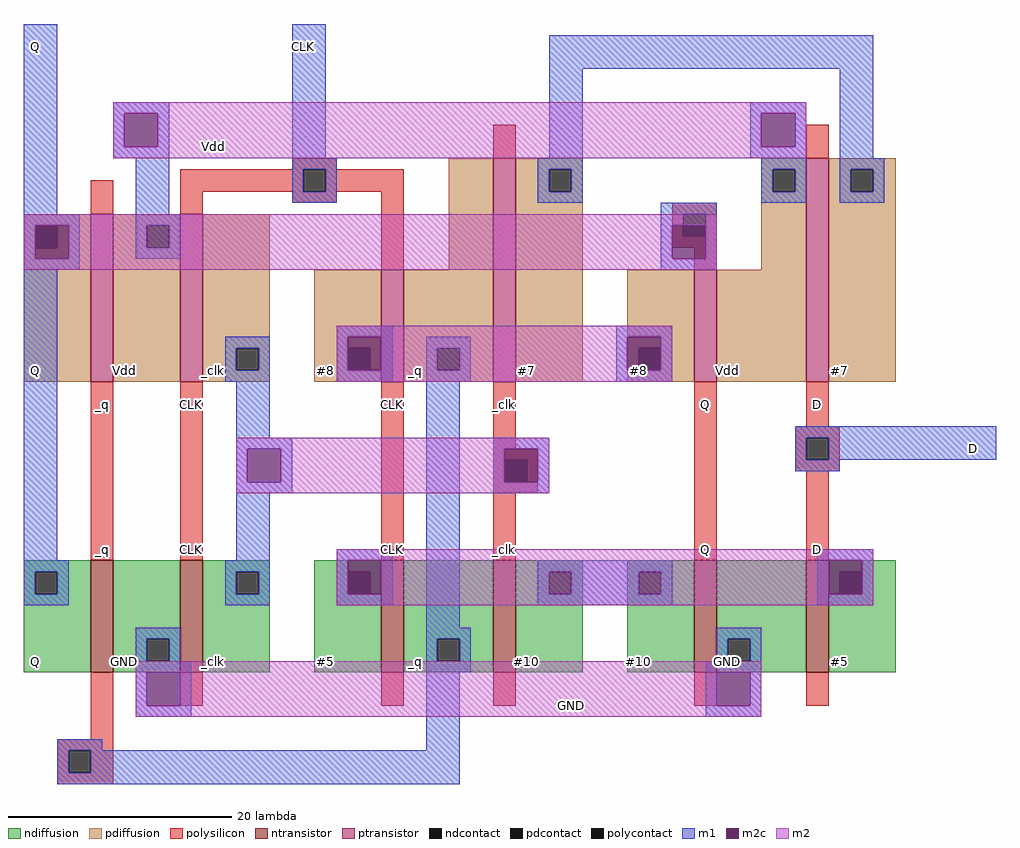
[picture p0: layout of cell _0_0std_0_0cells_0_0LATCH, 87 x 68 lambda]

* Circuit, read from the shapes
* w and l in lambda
.subckt _0_0std_0_0cells_0_0LATCH #10 #5 #7 #8 CLK D GND Q Vdd _clk _q
M1 GND _q Q VSUBS nfet w=10 l=2
M2 _clk CLK GND VSUBS nfet w=10 l=2
M3 _q CLK #5 VSUBS nfet w=10 l=2
M4 #10 _clk _q VSUBS nfet w=10 l=2
M5 GND Q #10 VSUBS nfet w=10 l=2
M6 #5 D GND VSUBS nfet w=10 l=2
M7 Vdd _q Q NWELL pfet w=15 l=2
M8 _clk CLK Vdd NWELL pfet w=15 l=2
M9 _q CLK #8 NWELL pfet w=10 l=2
M10 #7 _clk _q NWELL pfet w=20 l=2
M11 Vdd Q #8 NWELL pfet w=10 l=2
M12 #7 D Vdd NWELL pfet w=20 l=2
.ends

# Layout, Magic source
magic
tech TSMC180
<< ndiffusion >>
rect 6 21 12 22
rect 6 19 7 21
rect 9 19 12 21
rect 6 12 12 19
rect 14 15 20 22
rect 14 13 17 15
rect 19 13 20 15
rect 14 12 20 13
rect 22 21 28 22
rect 22 19 25 21
rect 27 19 28 21
rect 22 12 28 19
rect 32 21 38 22
rect 32 19 35 21
rect 37 19 38 21
rect 32 12 38 19
rect 40 15 48 22
rect 40 13 43 15
rect 45 13 48 15
rect 40 12 48 13
rect 50 21 56 22
rect 50 19 53 21
rect 55 19 56 21
rect 50 12 56 19
rect 60 21 66 22
rect 60 19 61 21
rect 63 19 66 21
rect 60 12 66 19
rect 68 15 76 22
rect 68 13 69 15
rect 71 13 76 15
rect 68 12 76 13
rect 78 21 84 22
rect 78 19 79 21
rect 81 19 84 21
rect 78 12 84 19
<< ndcontact >>
rect 7 19 9 21
rect 17 13 19 15
rect 25 19 27 21
rect 35 19 37 21
rect 43 13 45 15
rect 53 19 55 21
rect 61 19 63 21
rect 69 13 71 15
rect 79 19 81 21
<< ntransistor >>
rect 12 12 14 22
rect 20 12 22 22
rect 38 12 40 22
rect 48 12 50 22
rect 66 12 68 22
rect 76 12 78 22
<< pdiffusion >>
rect 6 52 12 53
rect 6 50 7 52
rect 9 50 12 52
rect 6 38 12 50
rect 14 52 20 53
rect 14 50 17 52
rect 19 50 20 52
rect 14 38 20 50
rect 22 41 28 53
rect 44 48 48 58
rect 22 39 25 41
rect 27 39 28 41
rect 22 38 28 39
rect 32 41 38 48
rect 32 39 35 41
rect 37 39 38 41
rect 32 38 38 39
rect 40 41 48 48
rect 40 39 43 41
rect 45 39 48 41
rect 40 38 48 39
rect 50 57 56 58
rect 50 55 53 57
rect 55 55 56 57
rect 50 38 56 55
rect 72 57 76 58
rect 72 55 73 57
rect 75 55 76 57
rect 72 48 76 55
rect 60 41 66 48
rect 60 39 61 41
rect 63 39 66 41
rect 60 38 66 39
rect 68 38 76 48
rect 78 57 84 58
rect 78 55 80 57
rect 82 55 84 57
rect 78 38 84 55
<< pdcontact >>
rect 7 50 9 52
rect 17 50 19 52
rect 25 39 27 41
rect 35 39 37 41
rect 43 39 45 41
rect 53 55 55 57
rect 73 55 75 57
rect 61 39 63 41
rect 80 55 82 57
<< ptransistor >>
rect 12 38 14 53
rect 20 38 22 53
rect 38 38 40 48
rect 48 38 50 58
rect 66 38 68 48
rect 76 38 78 58
<< polysilicon >>
rect 48 58 50 61
rect 76 58 78 61
rect 30 57 34 58
rect 12 53 14 56
rect 20 55 31 57
rect 33 55 40 57
rect 20 53 22 55
rect 30 54 34 55
rect 38 48 40 55
rect 64 53 68 54
rect 64 51 65 53
rect 67 51 68 53
rect 64 50 68 51
rect 66 48 68 50
rect 12 22 14 38
rect 20 22 22 38
rect 38 22 40 38
rect 48 32 50 38
rect 48 31 52 32
rect 48 29 49 31
rect 51 29 52 31
rect 48 28 52 29
rect 48 22 50 28
rect 66 22 68 38
rect 76 34 78 38
rect 75 33 79 34
rect 75 31 76 33
rect 78 31 79 33
rect 75 30 79 31
rect 76 22 78 30
rect 12 6 14 12
rect 20 9 22 12
rect 38 9 40 12
rect 48 9 50 12
rect 66 9 68 12
rect 76 9 78 12
rect 9 5 14 6
rect 9 3 10 5
rect 12 3 14 5
rect 9 2 14 3
<< polycontact >>
rect 31 55 33 57
rect 65 51 67 53
rect 49 29 51 31
rect 76 31 78 33
rect 10 3 12 5
<< m1 >>
rect 6 53 9 70
rect 14 62 19 63
rect 14 59 15 62
rect 18 59 19 62
rect 14 58 19 59
rect 16 53 19 58
rect 30 58 33 70
rect 53 66 82 69
rect 53 58 56 66
rect 71 62 76 63
rect 71 59 72 62
rect 75 59 76 62
rect 71 58 76 59
rect 30 57 34 58
rect 30 55 31 57
rect 33 55 34 57
rect 30 54 34 55
rect 52 57 56 58
rect 52 55 53 57
rect 55 55 56 57
rect 52 54 56 55
rect 72 57 76 58
rect 72 55 73 57
rect 75 55 76 57
rect 72 54 76 55
rect 79 58 82 66
rect 79 57 83 58
rect 79 55 80 57
rect 82 55 83 57
rect 79 54 83 55
rect 63 53 68 54
rect 6 52 11 53
rect 6 49 7 52
rect 10 49 11 52
rect 16 52 20 53
rect 16 50 17 52
rect 19 50 20 52
rect 16 49 20 50
rect 63 52 65 53
rect 63 49 64 52
rect 67 49 68 53
rect 6 48 11 49
rect 63 48 68 49
rect 6 22 9 48
rect 34 42 39 43
rect 59 42 64 43
rect 24 41 28 42
rect 24 39 25 41
rect 27 39 28 41
rect 24 38 28 39
rect 34 39 35 42
rect 38 39 39 42
rect 34 38 39 39
rect 42 41 46 42
rect 42 39 43 41
rect 45 39 46 41
rect 42 38 46 39
rect 59 39 60 42
rect 63 39 64 42
rect 59 38 64 39
rect 25 33 28 38
rect 25 32 30 33
rect 25 29 26 32
rect 29 29 30 32
rect 25 28 30 29
rect 25 22 28 28
rect 6 21 10 22
rect 6 19 7 21
rect 9 19 10 21
rect 6 18 10 19
rect 24 21 28 22
rect 24 19 25 21
rect 27 19 28 21
rect 24 18 28 19
rect 34 22 39 23
rect 34 19 35 22
rect 38 19 39 22
rect 34 18 39 19
rect 42 16 45 38
rect 75 33 93 34
rect 48 32 53 33
rect 48 29 49 32
rect 52 29 53 32
rect 75 31 76 33
rect 78 31 93 33
rect 75 30 79 31
rect 48 28 53 29
rect 77 22 82 23
rect 52 21 64 22
rect 52 19 53 21
rect 55 19 61 21
rect 63 19 64 21
rect 52 18 64 19
rect 77 19 78 22
rect 81 19 82 22
rect 77 18 82 19
rect 16 15 20 16
rect 16 13 17 15
rect 19 13 20 15
rect 42 15 46 16
rect 42 13 43 15
rect 45 13 46 15
rect 68 15 72 16
rect 68 13 69 15
rect 71 13 72 15
rect 16 12 21 13
rect 16 9 17 12
rect 20 9 21 12
rect 16 8 21 9
rect 42 12 46 13
rect 67 12 72 13
rect 9 5 13 6
rect 42 5 45 12
rect 67 9 68 12
rect 71 9 72 12
rect 67 8 72 9
rect 9 3 10 5
rect 12 3 45 5
rect 9 2 45 3
<< m2c >>
rect 15 59 18 62
rect 72 59 75 62
rect 7 50 9 52
rect 9 50 10 52
rect 7 49 10 50
rect 64 51 65 52
rect 65 51 67 52
rect 64 49 67 51
rect 35 41 38 42
rect 35 39 37 41
rect 37 39 38 41
rect 60 41 63 42
rect 60 39 61 41
rect 61 39 63 41
rect 26 29 29 32
rect 35 21 38 22
rect 35 19 37 21
rect 37 19 38 21
rect 49 31 52 32
rect 49 29 51 31
rect 51 29 52 31
rect 78 21 81 22
rect 78 19 79 21
rect 79 19 81 21
rect 17 9 20 12
rect 68 9 71 12
<< m2 >>
rect 14 62 76 63
rect 14 59 15 62
rect 18 59 72 62
rect 75 59 76 62
rect 14 58 76 59
rect 6 52 68 53
rect 6 49 7 52
rect 10 49 64 52
rect 67 49 68 52
rect 6 48 68 49
rect 34 42 64 43
rect 34 39 35 42
rect 38 39 60 42
rect 63 39 64 42
rect 34 38 64 39
rect 25 32 53 33
rect 25 29 26 32
rect 29 29 49 32
rect 52 29 53 32
rect 25 28 53 29
rect 34 22 82 23
rect 34 19 35 22
rect 38 19 78 22
rect 81 19 82 22
rect 34 18 82 19
rect 16 12 72 13
rect 16 9 17 12
rect 20 9 68 12
rect 71 9 72 12
rect 16 8 72 9
<< labels >>
rlabel ndiffusion 23 13 23 13 3 _clk
rlabel pdiffusion 23 39 23 39 3 _clk
rlabel polysilicon 21 23 21 23 3 CLK
rlabel polysilicon 21 36 21 36 3 CLK
rlabel ndiffusion 15 13 15 13 3 GND
rlabel pdiffusion 15 39 15 39 3 Vdd
rlabel polysilicon 13 23 13 23 3 _q
rlabel polysilicon 13 36 13 36 3 _q
rlabel ndiffusion 7 13 7 13 3 Q
rlabel pdiffusion 7 39 7 39 3 Q
rlabel pdiffusion 51 39 51 39 3 #7
rlabel ndiffusion 51 13 51 13 3 #10
rlabel polysilicon 49 23 49 23 3 _clk
rlabel polysilicon 49 36 49 36 3 _clk
rlabel ndiffusion 41 13 41 13 3 _q
rlabel pdiffusion 41 39 41 39 3 _q
rlabel polysilicon 39 23 39 23 3 CLK
rlabel polysilicon 39 36 39 36 3 CLK
rlabel ndiffusion 33 13 33 13 3 #5
rlabel pdiffusion 33 39 33 39 3 #8
rlabel pdiffusion 79 39 79 39 3 #7
rlabel ndiffusion 79 13 79 13 3 #5
rlabel polysilicon 77 23 77 23 3 D
rlabel polysilicon 77 36 77 36 3 D
rlabel ndiffusion 69 13 69 13 3 GND
rlabel pdiffusion 69 39 69 39 3 Vdd
rlabel polysilicon 67 23 67 23 3 Q
rlabel polysilicon 67 36 67 36 3 Q
rlabel ndiffusion 61 13 61 13 3 #10
rlabel pdiffusion 61 39 61 39 3 #8
rlabel m1 31 68 31 68 5 CLK
rlabel m1 7 68 7 68 3 Q
rlabel m2 23 59 23 59 1 Vdd
rlabel m2 55 9 55 9 1 GND
rlabel m1 91 32 91 32 3 D
<< end >>
